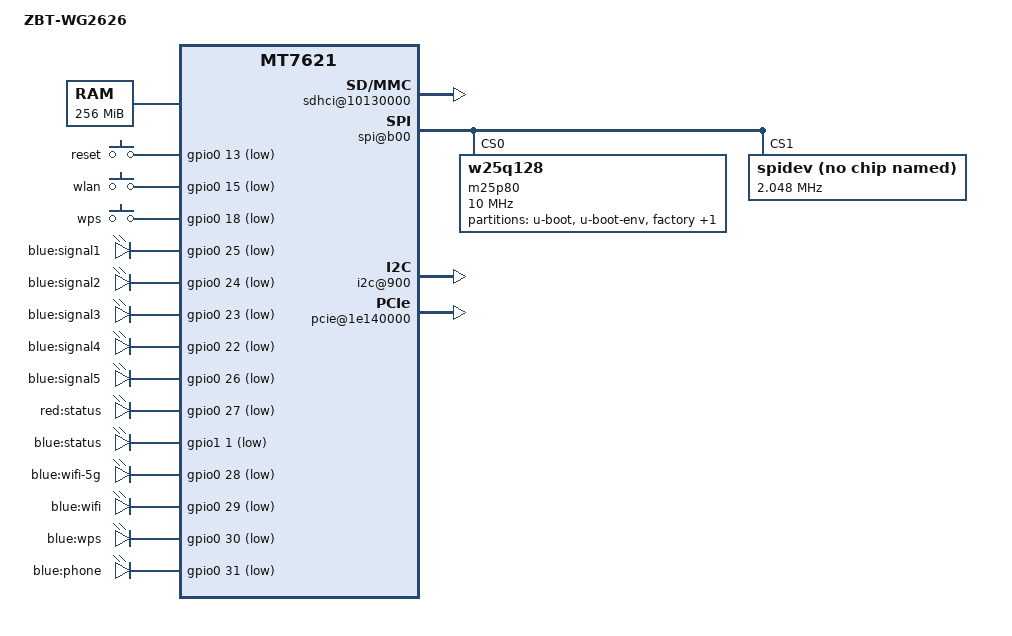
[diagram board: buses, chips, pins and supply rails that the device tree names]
/dts-v1/;

/include/ "mt7621.dtsi"

/ {
	compatible = "mediatek,mt7621-eval-board", "mediatek,mt7621-soc";
	model = "ZBT-WG2626";

	memory@0 {
		device_type = "memory";
		reg = <0x0 0xc000000>, <0x10000000 0x4000000>;
	};

	chosen {
		bootargs = "console=ttyS0,115200";
	};

	sdhci@10130000 {
		status = "okay";
	};

	palmbus@1E000000 {
		spi@b00 {
			status = "okay";

			m25p80@0 {
				#address-cells = <1>;
				#size-cells = <1>;
				compatible = "w25q128";
				reg = <0 0>;
				linux,modalias = "m25p80";
				spi-max-frequency = <10000000>;

				partition@0 {
					label = "u-boot";
					reg = <0x0 0x30000>;
					read-only;
				};

				partition@30000 {
					label = "u-boot-env";
					reg = <0x30000 0x10000>;
					read-only;
				};

				factory: partition@40000 {
					label = "factory";
					reg = <0x40000 0x10000>;
				};

				partition@50000 {
					label = "firmware";
					reg = <0x50000 0xfb0000>;
				};

			};
			
			spidev@1 {
				compatible = "rohm,dh2228fv";
				reg = <1 0>;
				linux,modalias = "spidev";
				spi-cpha;
				spi-cpol;
				status = "okay";
				spi-max-frequency = <2048000>;
			};
		};

		i2c@900 {
			compatible = "ralink,i2c-mt7621";
			reg = <0x900 0x100>;
			#address-cells = <1>;
			#size-cells = <0>;
			pinctrl-names = "default";
			pinctrl-0 = <&i2c_pins>;
			status = "okay";
		};
	};

	pcie@1e140000 {
		status = "okay";

		pcie0 {
			mt76@0,0 {
				reg = <0x0000 0 0 0 0>;
				device_type = "pci";
				mediatek,mtd-eeprom = <&factory 0x8000>;
				mediatek,2ghz = <0>;
			};
		};

		pcie1 {
			mt76@1,0 {
				reg = <0x0000 0 0 0 0>;
				device_type = "pci";
				mediatek,mtd-eeprom = <&factory 0x0000>;
				mediatek,5ghz = <0>;
			};
		};
	};

	ethernet@1e100000 {
		mtd-mac-address = <&factory 0xe000>;
	};

	gpio-keys-polled {
		compatible = "gpio-keys-polled";
		#address-cells = <1>;
		#size-cells = <0>;
		poll-interval = <20>;

		reset {
			label = "reset";
			gpios = <&gpio0 13 1>;
			linux,code = <0x198>;
		};
    	BTN_0 {
			label = "wlan";
			gpios = <&gpio0 15 1>;
			linux,code = <0x100>;
		};
        wps {
			label = "wps";
			gpios = <&gpio0 18 1>;
			linux,code = <0x211>;
		};

	};

	gpio-leds {
		compatible = "gpio-leds";

		signal1 {
			label = "blue:signal1";
			gpios = <&gpio0 25 1>;
		};

        signal2 {
			label = "blue:signal2";
			gpios = <&gpio0 24 1>;
		};

        signal3 {
			label = "blue:signal3";
			gpios = <&gpio0 23 1>;
		};
        signal4 {
			label = "blue:signal4";
			gpios = <&gpio0 22 1>;
		};
        signal5 {
			label = "blue:signal5";
			gpios = <&gpio0 26 1>;
		};
        modem-red {
			label = "red:status";
			gpios = <&gpio0 27 1>;
		};
        modem-blue {
			label = "blue:status";
			gpios = <&gpio1 1 1>;
		};
        wifi-5g {
			label = "blue:wifi-5g";
			gpios = <&gpio0 28 1>;
		};

        wifi {
			label = "blue:wifi";
			gpios = <&gpio0 29 1>;
		};

        wps {
			label = "blue:wps";
			gpios = <&gpio0 30 1>;
		};
        phone {
			label = "blue:phone";
			gpios = <&gpio0 31 1>;
		};

	};

	pinctrl {
		state_default: pinctrl0 {
			gpio {
				ralink,group = "wdt", "rgmii2", "i2c", "mdio";
				ralink,function = "gpio";
			};
		};
	};
};
